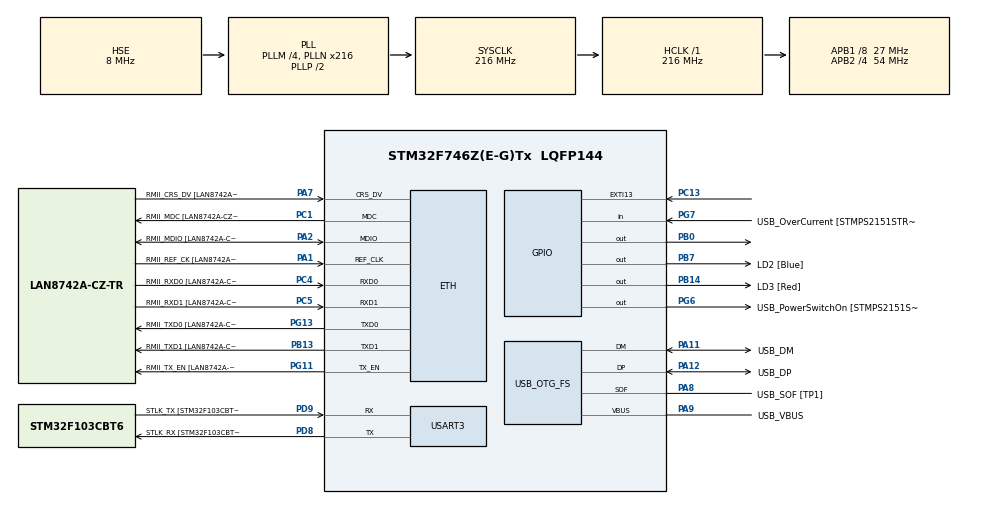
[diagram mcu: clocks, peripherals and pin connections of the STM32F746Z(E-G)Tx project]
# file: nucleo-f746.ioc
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ADC1.Channel-0\#ChannelRegularConversion=ADC_CHANNEL_TEMPSENSOR
ADC1.NbrOfConversionFlag=1
ADC1.Rank-0\#ChannelRegularConversion=1
ADC1.SamplingTime-0\#ChannelRegularConversion=ADC_SAMPLETIME_3CYCLES
ADC1.master=1
ETH.MediaInterface=ETH_MEDIA_INTERFACE_RMII
ETH.PhyAddress=0
FREERTOS.Tasks01=defaultTask,0,128,StartDefaultTask,Default
FREERTOS.configLIBRARY_LOWEST_INTERRUPT_PRIORITY=15
FREERTOS.configLIBRARY_MAX_SYSCALL_INTERRUPT_PRIORITY=5
LWIP.IP_ADDRESS=192.168.002.150
LWIP.LWIP_DHCP=0
LWIP.NETMASK_ADDRESS=255.255.255.000
LWIP.Version=v1.5.0_RC0_20160211_Cube
Mcu.Family=STM32F7
Mcu.Name=STM32F746Z(E-G)Tx
Mcu.Package=LQFP144
NVIC.ETH_IRQn=true\:5\:0\:false\:false\:true\:true
NVIC.EXTI15_10_IRQn=true\:5\:0\:false\:false\:true\:true
NVIC.PriorityGroup=NVIC_PRIORITYGROUP_4
NVIC.TIM1_UP_TIM10_IRQn=true\:0\:0\:false\:false\:true\:false
NVIC.TimeBase=TIM1_UP_TIM10_IRQn
NVIC.TimeBaseIP=TIM1
PA1.GPIO_Label=RMII_REF_CK [LAN8742A-CZ-TR_REFCLK0]
PA1.Mode=RMII
PA1.Signal=ETH_REF_CLK
PA10.GPIO_Label=USB_ID
PA10.Signal=USB_OTG_FS_ID
PA11.GPIO_Label=USB_DM
PA11.Mode=Device_Only
PA11.Signal=USB_OTG_FS_DM
PA12.GPIO_Label=USB_DP
PA12.Mode=Device_Only
PA12.Signal=USB_OTG_FS_DP
PA13.GPIO_Label=TMS
PA13.Mode=Trace_Asynchronous_SW
PA13.Signal=SYS_JTMS-SWDIO
PA14.GPIO_Label=TCK
PA14.Mode=Trace_Asynchronous_SW
PA14.Signal=SYS_JTCK-SWCLK
PA2.GPIO_Label=RMII_MDIO [LAN8742A-CZ-TR_MDIO]
PA2.Mode=RMII
PA2.Signal=ETH_MDIO
PA7.GPIO_Label=RMII_CRS_DV [LAN8742A-CZ-TR_CRS_DV]
PA7.Mode=RMII
PA7.Signal=ETH_CRS_DV
PA8.GPIO_Label=USB_SOF [TP1]
PA8.Mode=Activate_SOF_FS
PA8.Signal=USB_OTG_FS_SOF
PA9.GPIO_Label=USB_VBUS
PA9.Mode=Activate_VBUS
PA9.Signal=USB_OTG_FS_VBUS
PB0.Signal=GPIO_Output
PB13.GPIO_Label=RMII_TXD1 [LAN8742A-CZ-TR_TXD1]
PB13.Mode=RMII
PB13.Signal=ETH_TXD1
PB14.GPIO_Label=LD3 [Red]
PB14.Signal=GPIO_Output
PB3.GPIO_Label=SWO
PB3.Mode=Trace_Asynchronous_SW
PB3.Signal=SYS_JTDO-SWO
PB7.GPIO_Label=LD2 [Blue]
PB7.Signal=GPIO_Output
PC1.GPIO_Label=RMII_MDC [LAN8742A-CZ-TR_MDC]
PC1.Mode=RMII
PC1.Signal=ETH_MDC
PC13.Signal=GPXTI13
PC14/OSC32_IN.Mode=LSE-External-Oscillator
PC14/OSC32_IN.Signal=RCC_OSC32_IN
PC15/OSC32_OUT.Mode=LSE-External-Oscillator
PC15/OSC32_OUT.Signal=RCC_OSC32_OUT
PC4.GPIO_Label=RMII_RXD0 [LAN8742A-CZ-TR_RXD0]
PC4.Mode=RMII
PC4.Signal=ETH_RXD0
PC5.GPIO_Label=RMII_RXD1 [LAN8742A-CZ-TR_RXD1]
PC5.Mode=RMII
PC5.Signal=ETH_RXD1
PD8.GPIO_Label=STLK_RX [STM32F103CBT6_PA3]
PD8.Mode=Asynchronous
PD8.Signal=USART3_TX
PD9.GPIO_Label=STLK_TX [STM32F103CBT6_PA2]
PD9.Mode=Asynchronous
PD9.Signal=USART3_RX
PG11.GPIO_Label=RMII_TX_EN [LAN8742A-CZ-TR_TXEN]
PG11.Mode=RMII
PG11.Signal=ETH_TX_EN
PG13.GPIO_Label=RMII_TXD0 [LAN8742A-CZ-TR_TXD0]
PG13.Mode=RMII
PG13.Signal=ETH_TXD0
PG6.GPIO_Label=USB_PowerSwitchOn [STMPS2151STR_EN]
PG6.Signal=GPIO_Output
PG7.GPIO_Label=USB_OverCurrent [STMPS2151STR_FAULT]
PG7.Signal=GPIO_Input
PH0/OSC_IN.GPIO_Label=MCO [STM32F103CBT6_PA8]
PH0/OSC_IN.Mode=HSE-External-Clock-Source
PH0/OSC_IN.Signal=RCC_OSC_IN
PH1/OSC_OUT.Mode=HSE-External-Clock-Source
PH1/OSC_OUT.Signal=RCC_OSC_OUT
ProjectManager.HeapSize=0x400
ProjectManager.StackSize=0x200
ProjectManager.TargetToolchain=SW4STM32
RCC.48MHZClocksFreq_Value=24000000
RCC.AHBFreq_Value=216000000
RCC.APB1CLKDivider=RCC_HCLK_DIV8
RCC.APB1Freq_Value=27000000
RCC.APB1TimFreq_Value=54000000
RCC.APB2CLKDivider=RCC_HCLK_DIV4
RCC.APB2Freq_Value=54000000
RCC.APB2TimFreq_Value=108000000
RCC.CortexFreq_Value=216000000
RCC.HCLKFreq_Value=216000000
RCC.HSE_VALUE=8000000
RCC.HSI_VALUE=8000000
RCC.PLLM=4
RCC.PLLMUL=RCC_PLL_MUL9
RCC.PLLN=216
RCC.PLLQ=9
RCC.PRESCALERUSB=RCC_USBCLKSOURCE_PLL_DIV1_5
RCC.SYSCLKFreq_VALUE=216000000
RCC.SYSCLKSource=RCC_SYSCLKSOURCE_PLLCLK
RCC.SYSCLKSourceVirtual=RCC_SYSCLKSOURCE_PLLCLK
RCC.USBFreq_Value=48000000
RCC.VCOOutputFreq_Value=432000000
USART3.WordLength=UART_WORDLENGTH_8B
USB_OTG_FS.VirtualMode=Device_Only
VP_ADC1_TempSens_Input.Mode=IN-TempSens
VP_FREERTOS_VS_ENABLE.Mode=Enabled
VP_LWIP_VS_Enabled.Mode=Enabled
VP_SYS_VS_tim1.Mode=TIM1
board=NUCLEO-F746ZG

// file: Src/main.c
/**
  ******************************************************************************
  * File Name          : main.c
  * Description        : Main program body
  ******************************************************************************
  *
  * COPYRIGHT(c) 2016 STMicroelectronics
  *
  * Redistribution and use in source and binary forms, with or without modification,
  * are permitted provided that the following conditions are met:
  *   1. Redistributions of source code must retain the above copyright notice,
  *      this list of conditions and the following disclaimer.
  *   2. Redistributions in binary form must reproduce the above copyright notice,
  *      this list of conditions and the following disclaimer in the documentation
  *      and/or other materials provided with the distribution.
  *   3. Neither the name of STMicroelectronics nor the names of its contributors
  *      may be used to endorse or promote products derived from this software
  *      without specific prior written permission.
  *
  * THIS SOFTWARE IS PROVIDED BY THE COPYRIGHT HOLDERS AND CONTRIBUTORS "AS IS"
  * AND ANY EXPRESS OR IMPLIED WARRANTIES, INCLUDING, BUT NOT LIMITED TO, THE
  * IMPLIED WARRANTIES OF MERCHANTABILITY AND FITNESS FOR A PARTICULAR PURPOSE ARE
  * DISCLAIMED. IN NO EVENT SHALL THE COPYRIGHT HOLDER OR CONTRIBUTORS BE LIABLE
  * FOR ANY DIRECT, INDIRECT, INCIDENTAL, SPECIAL, EXEMPLARY, OR CONSEQUENTIAL
  * DAMAGES (INCLUDING, BUT NOT LIMITED TO, PROCUREMENT OF SUBSTITUTE GOODS OR
  * SERVICES; LOSS OF USE, DATA, OR PROFITS; OR BUSINESS INTERRUPTION) HOWEVER
  * CAUSED AND ON ANY THEORY OF LIABILITY, WHETHER IN CONTRACT, STRICT LIABILITY,
  * OR TORT (INCLUDING NEGLIGENCE OR OTHERWISE) ARISING IN ANY WAY OUT OF THE USE
  * OF THIS SOFTWARE, EVEN IF ADVISED OF THE POSSIBILITY OF SUCH DAMAGE.
  *
  ******************************************************************************
  */
#include "stm32f7xx_hal.h"
#include "cmsis_os.h"
#include "lwip.h"

/* USER CODE BEGIN Includes */
#include "httpserver-netconn.h"
#include "stm32f746xx.h"
/* USER CODE END Includes */

ADC_HandleTypeDef hadc1;

UART_HandleTypeDef huart3;

PCD_HandleTypeDef hpcd_USB_OTG_FS;

osThreadId defaultTaskHandle;

/* USER CODE BEGIN PV */
extern int vtask_main(UART_HandleTypeDef *uart);
/* Private variables ---------------------------------------------------------*/
static int btn_counter;
/* USER CODE END PV */

void SystemClock_Config(void);
void Error_Handler(void);
static void MX_GPIO_Init(void);
static void MX_USART3_UART_Init(void);
static void MX_USB_OTG_FS_PCD_Init(void);
static void MX_ADC1_Init(void);
void StartDefaultTask(void const * argument);

/* USER CODE BEGIN PFP */
/* Private function prototypes -----------------------------------------------*/

/* USER CODE END PFP */

int main(void)
{

  /* MCU Configuration----------------------------------------------------------*/

  /* Reset of all peripherals, Initializes the Flash interface and the Systick. */
  HAL_Init();

  /* Configure the system clock */
  SystemClock_Config();

  /* Initialize all configured peripherals */
  MX_GPIO_Init();
  MX_USART3_UART_Init();
  MX_USB_OTG_FS_PCD_Init();
  MX_ADC1_Init();

  /* USER CODE BEGIN 2 */
  HAL_NVIC_EnableIRQ(EXTI15_10_IRQn);
  HAL_NVIC_SetPriorityGrouping(NVIC_PRIORITYGROUP_4);

  /* USER CODE END 2 */

  /* Create the thread(s) */
  /* definition and creation of defaultTask */
  osThreadDef(defaultTask, StartDefaultTask, osPriorityNormal, 0, 128);
  defaultTaskHandle = osThreadCreate(osThread(defaultTask), NULL);

  /* Start scheduler */
  osKernelStart();

  /* We should never get here as control is now taken by the scheduler */

  /* Infinite loop */
  /* USER CODE BEGIN WHILE */
  while (1)
  {
     //MX_LWIP_Process();
  /* USER CODE END WHILE */

  }

}

/** System Clock Configuration
*/
void SystemClock_Config(void)
{

  RCC_OscInitTypeDef RCC_OscInitStruct;
  RCC_ClkInitTypeDef RCC_ClkInitStruct;
  RCC_PeriphCLKInitTypeDef PeriphClkInitStruct;

  __HAL_RCC_PWR_CLK_ENABLE();

  __HAL_PWR_VOLTAGESCALING_CONFIG(PWR_REGULATOR_VOLTAGE_SCALE1);

  RCC_OscInitStruct.OscillatorType = RCC_OSCILLATORTYPE_HSE;
  RCC_OscInitStruct.HSEState = RCC_HSE_BYPASS;
  RCC_OscInitStruct.PLL.PLLState = RCC_PLL_ON;
  RCC_OscInitStruct.PLL.PLLSource = RCC_PLLSOURCE_HSE;
  RCC_OscInitStruct.PLL.PLLM = 4;
  RCC_OscInitStruct.PLL.PLLN = 216;
  RCC_OscInitStruct.PLL.PLLP = RCC_PLLP_DIV2;
  RCC_OscInitStruct.PLL.PLLQ = 9;
  if (HAL_RCC_OscConfig(&RCC_OscInitStruct) != HAL_OK)
  {
    Error_Handler();
  }

  if (HAL_PWREx_EnableOverDrive() != HAL_OK)
  {
    Error_Handler();
  }

  RCC_ClkInitStruct.ClockType = RCC_CLOCKTYPE_HCLK|RCC_CLOCKTYPE_SYSCLK
                              |RCC_CLOCKTYPE_PCLK1|RCC_CLOCKTYPE_PCLK2;
  RCC_ClkInitStruct.SYSCLKSource = RCC_SYSCLKSOURCE_PLLCLK;
  RCC_ClkInitStruct.AHBCLKDivider = RCC_SYSCLK_DIV1;
  RCC_ClkInitStruct.APB1CLKDivider = RCC_HCLK_DIV8;
  RCC_ClkInitStruct.APB2CLKDivider = RCC_HCLK_DIV4;
  if (HAL_RCC_ClockConfig(&RCC_ClkInitStruct, FLASH_LATENCY_7) != HAL_OK)
  {
    Error_Handler();
  }

  PeriphClkInitStruct.PeriphClockSelection = RCC_PERIPHCLK_USART3|RCC_PERIPHCLK_CLK48;
  PeriphClkInitStruct.Usart3ClockSelection = RCC_USART3CLKSOURCE_PCLK1;
  PeriphClkInitStruct.Clk48ClockSelection = RCC_CLK48SOURCE_PLL;
  if (HAL_RCCEx_PeriphCLKConfig(&PeriphClkInitStruct) != HAL_OK)
  {
    Error_Handler();
  }

  HAL_SYSTICK_Config(HAL_RCC_GetHCLKFreq()/1000);

  HAL_SYSTICK_CLKSourceConfig(SYSTICK_CLKSOURCE_HCLK);

  /* SysTick_IRQn interrupt configuration */
  HAL_NVIC_SetPriority(SysTick_IRQn, 15, 0);
}

/* ADC1 init function */
static void MX_ADC1_Init(void)
{

  ADC_ChannelConfTypeDef sConfig;

    /**Configure the global features of the ADC (Clock, Resolution, Data Alignment and number of conversion)
    */
  hadc1.Instance = ADC1;
  hadc1.Init.ClockPrescaler = ADC_CLOCK_SYNC_PCLK_DIV2;
  hadc1.Init.Resolution = ADC_RESOLUTION_12B;
  hadc1.Init.ScanConvMode = DISABLE;
  hadc1.Init.ContinuousConvMode = DISABLE;
  hadc1.Init.DiscontinuousConvMode = DISABLE;
  hadc1.Init.ExternalTrigConvEdge = ADC_EXTERNALTRIGCONVEDGE_NONE;
  hadc1.Init.DataAlign = ADC_DATAALIGN_RIGHT;
  hadc1.Init.NbrOfConversion = 1;
  hadc1.Init.DMAContinuousRequests = DISABLE;
  hadc1.Init.EOCSelection = ADC_EOC_SINGLE_CONV;
  if (HAL_ADC_Init(&hadc1) != HAL_OK)
  {
    Error_Handler();
  }

    /**Configure for the selected ADC regular channel its corresponding rank in the sequencer and its sample time.
    */
  sConfig.Channel = ADC_CHANNEL_TEMPSENSOR;
  sConfig.Rank = 1;
  sConfig.SamplingTime = ADC_SAMPLETIME_3CYCLES;
  if (HAL_ADC_ConfigChannel(&hadc1, &sConfig) != HAL_OK)
  {
    Error_Handler();
  }

}

/* USART3 init function */
static void MX_USART3_UART_Init(void)
{

  huart3.Instance = USART3;
  huart3.Init.BaudRate = 115200;
  huart3.Init.WordLength = UART_WORDLENGTH_8B;
  huart3.Init.StopBits = UART_STOPBITS_1;
  huart3.Init.Parity = UART_PARITY_NONE;
  huart3.Init.Mode = UART_MODE_TX_RX;
  huart3.Init.HwFlowCtl = UART_HWCONTROL_NONE;
  huart3.Init.OverSampling = UART_OVERSAMPLING_16;
  huart3.Init.OneBitSampling = UART_ONE_BIT_SAMPLE_DISABLE;
  huart3.AdvancedInit.AdvFeatureInit = UART_ADVFEATURE_NO_INIT;
  if (HAL_UART_Init(&huart3) != HAL_OK)
  {
    Error_Handler();
  }

}

/* USB_OTG_FS init function */
static void MX_USB_OTG_FS_PCD_Init(void)
{

  hpcd_USB_OTG_FS.Instance = USB_OTG_FS;
  hpcd_USB_OTG_FS.Init.dev_endpoints = 6;
  hpcd_USB_OTG_FS.Init.speed = PCD_SPEED_FULL;
  hpcd_USB_OTG_FS.Init.dma_enable = DISABLE;
  hpcd_USB_OTG_FS.Init.ep0_mps = DEP0CTL_MPS_64;
  hpcd_USB_OTG_FS.Init.phy_itface = PCD_PHY_EMBEDDED;
  hpcd_USB_OTG_FS.Init.Sof_enable = ENABLE;
  hpcd_USB_OTG_FS.Init.low_power_enable = DISABLE;
  hpcd_USB_OTG_FS.Init.lpm_enable = DISABLE;
  hpcd_USB_OTG_FS.Init.vbus_sensing_enable = ENABLE;
  hpcd_USB_OTG_FS.Init.use_dedicated_ep1 = DISABLE;
  if (HAL_PCD_Init(&hpcd_USB_OTG_FS) != HAL_OK)
  {
    Error_Handler();
  }

}

/** Configure pins as
        * Analog
        * Input
        * Output
        * EVENT_OUT
        * EXTI
*/
static void MX_GPIO_Init(void)
{

  GPIO_InitTypeDef GPIO_InitStruct;

  /* GPIO Ports Clock Enable */
  __HAL_RCC_GPIOC_CLK_ENABLE();
  __HAL_RCC_GPIOH_CLK_ENABLE();
  __HAL_RCC_GPIOA_CLK_ENABLE();
  __HAL_RCC_GPIOB_CLK_ENABLE();
  __HAL_RCC_GPIOD_CLK_ENABLE();
  __HAL_RCC_GPIOG_CLK_ENABLE();

  /*Configure GPIO pin : PC13 */
  GPIO_InitStruct.Pin = GPIO_PIN_13;
  GPIO_InitStruct.Mode = GPIO_MODE_IT_RISING;
  GPIO_InitStruct.Pull = GPIO_NOPULL;
  HAL_GPIO_Init(GPIOC, &GPIO_InitStruct);

  /*Configure GPIO pins : PB0 LD3_Pin LD2_Pin */
  GPIO_InitStruct.Pin = GPIO_PIN_0|LD3_Pin|LD2_Pin;
  GPIO_InitStruct.Mode = GPIO_MODE_OUTPUT_PP;
  GPIO_InitStruct.Pull = GPIO_NOPULL;
  GPIO_InitStruct.Speed = GPIO_SPEED_FREQ_LOW;
  HAL_GPIO_Init(GPIOB, &GPIO_InitStruct);

  /*Configure GPIO pin : USB_PowerSwitchOn_Pin */
  GPIO_InitStruct.Pin = USB_PowerSwitchOn_Pin;
  GPIO_InitStruct.Mode = GPIO_MODE_OUTPUT_PP;
  GPIO_InitStruct.Pull = GPIO_NOPULL;
  GPIO_InitStruct.Speed = GPIO_SPEED_FREQ_LOW;
  HAL_GPIO_Init(USB_PowerSwitchOn_GPIO_Port, &GPIO_InitStruct);

  /*Configure GPIO pin : USB_OverCurrent_Pin */
  GPIO_InitStruct.Pin = USB_OverCurrent_Pin;
  GPIO_InitStruct.Mode = GPIO_MODE_INPUT;
  GPIO_InitStruct.Pull = GPIO_NOPULL;
  HAL_GPIO_Init(USB_OverCurrent_GPIO_Port, &GPIO_InitStruct);

  /*Configure GPIO pin Output Level */
  HAL_GPIO_WritePin(GPIOB, GPIO_PIN_0|LD3_Pin|LD2_Pin, GPIO_PIN_RESET);

  /*Configure GPIO pin Output Level */
  HAL_GPIO_WritePin(USB_PowerSwitchOn_GPIO_Port, USB_PowerSwitchOn_Pin, GPIO_PIN_RESET);

  /* EXTI interrupt init*/
  HAL_NVIC_SetPriority(EXTI15_10_IRQn, 5, 0);
  HAL_NVIC_EnableIRQ(EXTI15_10_IRQn);

}

/* USER CODE BEGIN 4 */

//void EXTI15_10_IRQHandler(void) {
//    __HAL_GPIO_EXTI_CLEAR_FLAG(GPIO_PIN_13);
//    xQueueHandle btn_q = http_get_btn_queue();
//    if(btn_q) {
//        BaseType_t highPriTaskWoken = pdFALSE;
//        int data_ = 42;
//        HAL_GPIO_TogglePin(GPIOB, GPIO_PIN_0);
//        xQueueSendFromISR(btn_q, &data_, &highPriTaskWoken);
//
//        //portEND_SWITCHING_ISR(highPriTaskWoken);
//
//    }
//}

void HAL_GPIO_EXTI_Callback(uint16_t GPIO_Pin)
{
     xQueueHandle btn_q = http_get_btn_queue();
    if(btn_q) {
        BaseType_t highPriTaskWoken = pdFALSE;
        btn_counter++;
        xQueueSendFromISR(btn_q, &btn_counter, &highPriTaskWoken);

        //portEND_SWITCHING_ISR(highPriTaskWoken);
    }
}

/* USER CODE END 4 */

/* StartDefaultTask function */
void StartDefaultTask(void const * argument)
{
  /* init code for LWIP */
  MX_LWIP_Init();

  /* USER CODE BEGIN 5 */
  http_server_netconn_init();
  vtask_main(&huart3);
  /* Infinite loop */
  for(;;)
  {
    osDelay(1000);
    HAL_UART_Transmit(&huart3, "Test\r\n",6,100);
  }
  /* USER CODE END 5 */
}

void HAL_TIM_PeriodElapsedCallback(TIM_HandleTypeDef *htim)
{
  if (htim->Instance == TIM1) {
    HAL_IncTick();
  }
}

void Error_Handler(void)
{
  while(1)
  {
  }
}

/************************ (C) COPYRIGHT STMicroelectronics *****END OF FILE****/
